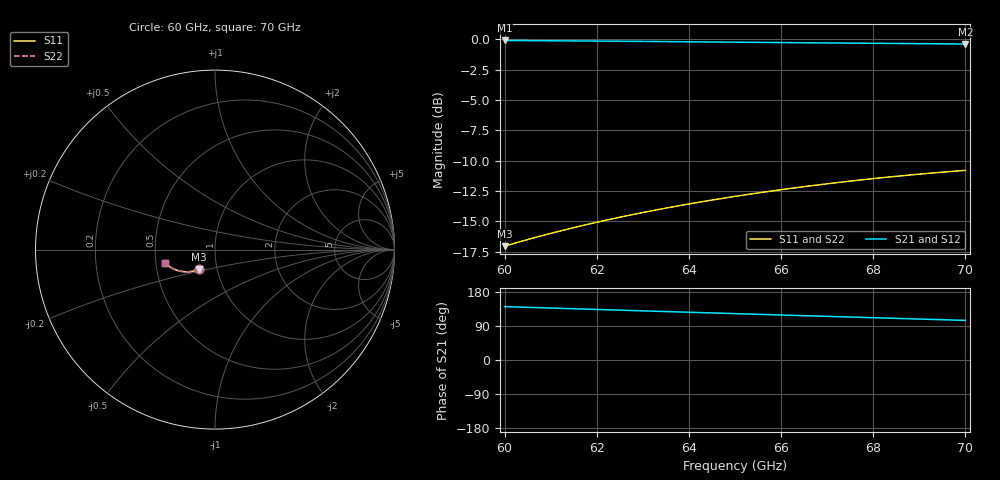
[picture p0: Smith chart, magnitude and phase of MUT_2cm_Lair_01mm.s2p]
! TOUCHSTONE file generated by CST MICROWAVE STUDIO
! Date and time: Sun Mar  3 12:09:16 2024
! Project name: material_angular.cst
! Parameters = {d=8.9; Yi=5; iiii=5; exis2=5; exis=5; X=5; Z=5; Y=2}
! Header version: 2018
! Port assignment regex: !\s*Touchstone port\s*([0-9]+)\s*=\s*(CST MWS port|CST DS port)\s*([0-9]+|Zmin|Zmax)\s*\(\"(.*)\"\)(\s*mode\s*([0-9]+))?.*
! Touchstone port assignment:
! Touchstone port 1 = CST MWS port 1 ("")
! Touchstone port 2 = CST MWS port 2 ("")
# GHz S MA R 376.7
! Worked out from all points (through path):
!   1001 points, 60 GHz to 70 GHz, reference 376.7 ohm
!   highest |S21| = -0.09 dB at 60 GHz (marker M1); lowest = -0.4 dB at 70 GHz (marker M2)
!   group delay of S21, straight-line fit = 10.1 ps
!   lowest |S11| = -17.0 dB at 60 GHz (marker M3), VSWR 1.33, Z = 308 - j68.5 ohm
!   |S11| at or under -10 dB: start of sweep to end of sweep
!   |S22| runs from -17.0 to -10.8 dB; largest |S21 - S12| = 0.00084
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60  0.1406 -129.2  0.9901 140.8  0.9899 140.8  0.1407 -129.1
60.05  0.1415 -129.4  0.9899 140.6  0.9898 140.6  0.1416 -129.3
60.22  0.1447 -130.1  0.9895 140.0  0.9893 140.0  0.1447 -129.9
60.55  0.1507 -131.3  0.9886 138.8  0.9884 138.8  0.1507 -131.2
60.88  0.1566 -132.5  0.9877 137.5  0.9875 137.5  0.1567 -132.4
61.27  0.1636 -134.0  0.9865 136.1  0.9864 136.1  0.1636 -133.8
61.67  0.1707 -135.5  0.9854 134.6  0.9852 134.6  0.1707 -135.3
62.07  0.1777 -137.0  0.9841 133.1  0.984 133.1  0.1777 -136.8
62.49  0.1849 -138.5  0.9828 131.6  0.9827 131.6  0.1849 -138.4
62.91  0.192 -140.1  0.9815 130.0  0.9814 130.0  0.192 -139.9
63.34  0.1992 -141.7  0.9801 128.4  0.98 128.4  0.1992 -141.5
63.74  0.2057 -143.1  0.9787 127.0  0.9787 127.0  0.2058 -143.0
64.15  0.2123 -144.6  0.9773 125.4  0.9773 125.5  0.2123 -144.5
64.57  0.2189 -146.1  0.9758 123.9  0.9758 123.9  0.2189 -146.0
65  0.2256 -147.7  0.9743 122.4  0.9744 122.4  0.2256 -147.6
65.82  0.2377 -150.6  0.9714 119.4  0.9715 119.4  0.2377 -150.6
66.67  0.2497 -153.7  0.9683 116.3  0.9685 116.3  0.2497 -153.6
67.5  0.2607 -156.6  0.9653 113.4  0.9657 113.3  0.2607 -156.6
68.34  0.271 -159.6  0.9623 110.4  0.9628 110.4  0.271 -159.6
69.2  0.2807 -162.6  0.9596 107.4  0.96 107.3  0.2807 -162.6
69.95  0.2883 -165.2  0.9575 104.7  0.9576 104.7  0.2883 -165.3
70  0.2887 -165.4  0.9574 104.5  0.9575 104.5  0.2888 -165.4
